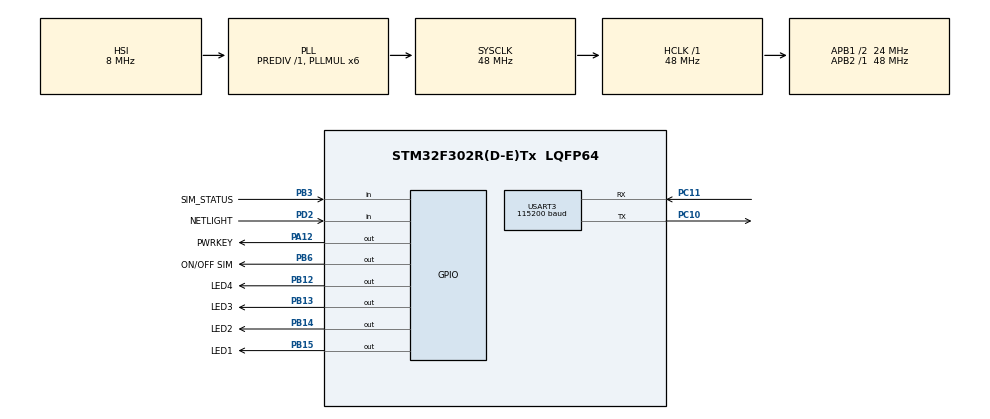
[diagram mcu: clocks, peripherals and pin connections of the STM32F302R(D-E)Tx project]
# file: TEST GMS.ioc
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Mcu.Family=STM32F3
Mcu.Name=STM32F302R(D-E)Tx
Mcu.Package=LQFP64
NVIC.PriorityGroup=NVIC_PRIORITYGROUP_4
PA12.GPIO_Label=PWRKEY
PA12.Signal=GPIO_Output
PA13.Mode=Serial_Wire
PA13.Signal=SYS_JTMS-SWDIO
PA14.Mode=Serial_Wire
PA14.Signal=SYS_JTCK-SWCLK
PB12.GPIO_Label=LED4
PB12.Signal=GPIO_Output
PB13.GPIO_Label=LED3
PB13.Signal=GPIO_Output
PB14.GPIO_Label=LED2
PB14.Signal=GPIO_Output
PB15.GPIO_Label=LED1
PB15.Signal=GPIO_Output
PB3.GPIO_Label=SIM_STATUS
PB3.Signal=GPIO_Input
PB6.GPIO_Label=ON/OFF SIM
PB6.Signal=GPIO_Output
PC10.Mode=Asynchronous
PC10.Signal=USART3_TX
PC11.Mode=Asynchronous
PC11.Signal=USART3_RX
PC14-OSC32_IN.Mode=LSE-External-Oscillator
PC14-OSC32_IN.Signal=RCC_OSC32_IN
PC15-OSC32_OUT.Mode=LSE-External-Oscillator
PC15-OSC32_OUT.Signal=RCC_OSC32_OUT
PD2.GPIO_Label=NETLIGHT
PD2.Signal=GPIO_Input
PF0-OSC_IN.Mode=HSE-External-Oscillator
PF0-OSC_IN.Signal=RCC_OSC_IN
PF1-OSC_OUT.Mode=HSE-External-Oscillator
PF1-OSC_OUT.Signal=RCC_OSC_OUT
ProjectManager.HeapSize=0x200
ProjectManager.StackSize=0x400
ProjectManager.TargetToolchain=MDK-ARM V5
RCC.AHBFreq_Value=48000000
RCC.APB1CLKDivider=RCC_HCLK_DIV2
RCC.APB1Freq_Value=24000000
RCC.APB1TimFreq_Value=48000000
RCC.APB2Freq_Value=48000000
RCC.APB2TimFreq_Value=48000000
RCC.CortexFreq_Value=48000000
RCC.HCLKFreq_Value=48000000
RCC.HSE_VALUE=8000000
RCC.HSI_VALUE=8000000
RCC.PLLMUL=RCC_PLL_MUL6
RCC.SYSCLKFreq_VALUE=48000000
RCC.SYSCLKSourceVirtual=RCC_SYSCLKSOURCE_PLLCLK
RCC.USBFreq_Value=48000000
USART3.BaudRate=115200
USART3.VirtualMode-Asynchronous=VM_ASYNC
board=custom

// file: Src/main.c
/* USER CODE BEGIN Header */
/**
  ******************************************************************************
  * @file           : main.c
  * @brief          : Main program body
  ******************************************************************************
  * @attention
  *
  * <h2><center>&copy; Copyright (c) 2020 STMicroelectronics.
  * All rights reserved.</center></h2>
  *
  * This software component is licensed by ST under BSD 3-Clause license,
  * the "License"; You may not use this file except in compliance with the
  * License. You may obtain a copy of the License at:
  *                        opensource.org/licenses/BSD-3-Clause
  *
  ******************************************************************************
  */
/* USER CODE END Header */

#include "main.h"

/* USER CODE BEGIN Includes */
#include "string.h"
/* USER CODE END Includes */

/* USER CODE BEGIN PTD */
	int counter = 0;
	char data_uart_AT[] = "AT\r";//"ATD0344383980;<CR><LF>";
	char data_uart_ATH[] = "ATH\r";
	char data_uart_SMS_mode_text[] = "AT+CMGF=1\r";
//	char data_uart_SMS_start[] = "AT+CMGS=\"0382643699\"\r";//"AT+CMGS=\"0382643699\"\r\n";
//	char data_uart_SMS_content[] = "New Temple and Page Autumn"; // ?
	char data_uart_SMS_end[1] = {0x1A};
	char check_sms_transmit_line[] = "AT\r";

	char data_uart_receive[30]; // string to save feedback data from SIM800C
	char data_uart_receive2[15]; // string to save feedback data from SIM800C
	char data_uart_receive3[30]; // string to save feedback data from SIM800C
	char data_uart_receive4[15]; // string to save feedback data from SIM800C
	char data_uart_receive5[15]; // string to save feedback data from SIM800C
	int call_enable = 0;
	int call_end = 0;
	int SMS_enable = 0;
	int read_SMS_enable = 1;

	//char str_number[16];

/* USER CODE END PTD */

UART_HandleTypeDef huart3;

void SystemClock_Config(void);
static void MX_GPIO_Init(void);
static void MX_USART3_UART_Init(void);
/* USER CODE BEGIN PFP */
void phone_call(char* phone_number)
{
	char str_number[16];
	if (call_enable == 1)
	{
		sprintf(str_number, "ATD%s;\r", phone_number);
		HAL_UART_Transmit(&huart3, (uint8_t *)str_number, strlen(str_number), 5000);
		//HAL_UART_Receive(&huart3, (uint8_t *)&data_uart_receive, sizeof(data_uart_receive), 3739);
		//call_enable = 0;
	}
	if ( call_end == 1)
	{
		HAL_UART_Transmit(&huart3, (uint8_t *)&data_uart_ATH, sizeof(data_uart_ATH), 3799); // command to end of the call
		HAL_UART_Receive(&huart3, (uint8_t *)&data_uart_receive, sizeof(data_uart_receive), 3739); // data feedback from the SIM800C
		call_end = 0;
	}
}

void send_sms(char* phone_number_2, char* sms_content)
	{
	char data_uart_SMS_start[21]; // = "AT+CMGS=\"0382643699\"\r";//"AT+CMGS=\"0382643699\"\r\n";
	sprintf(data_uart_SMS_start, "AT+CMGS=\"%s\"\r", phone_number_2);

		if ( SMS_enable == 1) // flag cho phep gui tin nhan
		{
			HAL_UART_Transmit(&huart3, (uint8_t*)data_uart_SMS_start, 21, 100);
			HAL_Delay(1000); // wait for > symbol
			HAL_UART_Transmit(&huart3, (uint8_t *)sms_content, strlen(sms_content), 1000);//no dung tin nhan
			HAL_UART_Transmit(&huart3, (uint8_t *)&data_uart_SMS_end[0] , 1, 1000);
			SMS_enable = 0;
		}
	}

/* USER CODE END PFP */

int main(void)
{

  /* MCU Configuration--------------------------------------------------------*/

  /* Reset of all peripherals, Initializes the Flash interface and the Systick. */
  HAL_Init();

  /* Configure the system clock */
  SystemClock_Config();

  /* Initialize all configured peripherals */
  MX_GPIO_Init();
  MX_USART3_UART_Init();
  /* USER CODE BEGIN 2 */
		HAL_GPIO_WritePin(PWRKEY_GPIO_Port, PWRKEY_Pin, GPIO_PIN_RESET);
		HAL_GPIO_WritePin(ON_OFF_SIM_GPIO_Port, ON_OFF_SIM_Pin, GPIO_PIN_SET); // on power sim
		HAL_Delay(1000);  //

		HAL_GPIO_WritePin(PWRKEY_GPIO_Port, PWRKEY_Pin, GPIO_PIN_SET);
		HAL_Delay(1100); // delay at least 1 second  //luc nay do anh chua cho 5-10s khi purkey thoi
		HAL_GPIO_WritePin(PWRKEY_GPIO_Port, PWRKEY_Pin, GPIO_PIN_RESET);
		HAL_Delay(10000);  // wait for about 10senconds for SIM ready
		//HAL_UART_Transmit(&huart3, (uint8_t*)"AT+CMGF=1\r",10, 100); // config tin nhan dang text
		//HAL_Delay(2000);

  /* USER CODE END 2 */

  /* Infinite loop */
  while (1)
  {

    /* USER CODE BEGIN 3 */
//		call_enable = 0;
//		// test module SIM with a phone call
//			phone_call("0344383980"); // if u wanna call to phone number: 0382643699

//		// Cau lenh gui tin nhan
//			send_sms("0344383980", "DEVN, sms from MCU");
//
//		if (read_SMS_enable == 1)
//		{
//			HAL_UART_Transmit(&huart3, (uint8_t*)"AT\r", 3, 10000);
//			HAL_UART_Receive(&huart3, (uint8_t *)data_uart_receive2, sizeof(data_uart_receive2), 3739);
//
//			HAL_UART_Transmit(&huart3, (uint8_t*)"AT+CMGR=1\r",11, 10000);
//			HAL_UART_Receive(&huart3, (uint8_t *)data_uart_receive3, sizeof(data_uart_receive3), 3739);
//			read_SMS_enable = 0;
//		}
//		// check feedback from SIM
//		HAL_UART_Transmit(&huart3, (uint8_t*)"AT\r", 3, 10000);
//		HAL_UART_Receive(&huart3, (uint8_t *)data_uart_receive2, sizeof(data_uart_receive2), 3739);
//
//
//// LED indicatior
//		HAL_GPIO_WritePin(GPIOB, LED4_Pin|LED3_Pin|LED2_Pin, GPIO_PIN_SET); // turn off all the LED indicator
//		HAL_GPIO_TogglePin(LED1_GPIO_Port, LED1_Pin);
//		//HAL_Delay(5000);
////		HAL_GPIO_TogglePin(LED2_GPIO_Port, LED2_Pin);
////		HAL_Delay(37399);
////		HAL_GPIO_TogglePin(LED3_GPIO_Port, LED3_Pin);
////		HAL_Delay(37399);
////		HAL_GPIO_TogglePin(LED4_GPIO_Port, LED4_Pin);
////		HAL_Delay(37399);
//
//		counter ++;
  }
  /* USER CODE END 3 */
}

void SystemClock_Config(void)
{
  RCC_OscInitTypeDef RCC_OscInitStruct = {0};
  RCC_ClkInitTypeDef RCC_ClkInitStruct = {0};
  RCC_PeriphCLKInitTypeDef PeriphClkInit = {0};

  /** Initializes the CPU, AHB and APB busses clocks
  */
  RCC_OscInitStruct.OscillatorType = RCC_OSCILLATORTYPE_HSI;
  RCC_OscInitStruct.HSIState = RCC_HSI_ON;
  RCC_OscInitStruct.HSICalibrationValue = RCC_HSICALIBRATION_DEFAULT;
  RCC_OscInitStruct.PLL.PLLState = RCC_PLL_ON;
  RCC_OscInitStruct.PLL.PLLSource = RCC_PLLSOURCE_HSI;
  RCC_OscInitStruct.PLL.PLLMUL = RCC_PLL_MUL6;
  RCC_OscInitStruct.PLL.PREDIV = RCC_PREDIV_DIV1;
  if (HAL_RCC_OscConfig(&RCC_OscInitStruct) != HAL_OK)
  {
    Error_Handler();
  }
  /** Initializes the CPU, AHB and APB busses clocks
  */
  RCC_ClkInitStruct.ClockType = RCC_CLOCKTYPE_HCLK|RCC_CLOCKTYPE_SYSCLK
                              |RCC_CLOCKTYPE_PCLK1|RCC_CLOCKTYPE_PCLK2;
  RCC_ClkInitStruct.SYSCLKSource = RCC_SYSCLKSOURCE_PLLCLK;
  RCC_ClkInitStruct.AHBCLKDivider = RCC_SYSCLK_DIV1;
  RCC_ClkInitStruct.APB1CLKDivider = RCC_HCLK_DIV2;
  RCC_ClkInitStruct.APB2CLKDivider = RCC_HCLK_DIV1;

  if (HAL_RCC_ClockConfig(&RCC_ClkInitStruct, FLASH_LATENCY_1) != HAL_OK)
  {
    Error_Handler();
  }
  PeriphClkInit.PeriphClockSelection = RCC_PERIPHCLK_USART3;
  PeriphClkInit.Usart3ClockSelection = RCC_USART3CLKSOURCE_PCLK1;
  if (HAL_RCCEx_PeriphCLKConfig(&PeriphClkInit) != HAL_OK)
  {
    Error_Handler();
  }
}

static void MX_USART3_UART_Init(void)
{

  huart3.Instance = USART3;
  huart3.Init.BaudRate = 115200;
  huart3.Init.WordLength = UART_WORDLENGTH_8B;
  huart3.Init.StopBits = UART_STOPBITS_1;
  huart3.Init.Parity = UART_PARITY_NONE;
  huart3.Init.Mode = UART_MODE_TX_RX;
  huart3.Init.HwFlowCtl = UART_HWCONTROL_NONE;
  huart3.Init.OverSampling = UART_OVERSAMPLING_16;
  huart3.Init.OneBitSampling = UART_ONE_BIT_SAMPLE_DISABLE;
  huart3.AdvancedInit.AdvFeatureInit = UART_ADVFEATURE_NO_INIT;
  if (HAL_UART_Init(&huart3) != HAL_OK)
  {
    Error_Handler();
  }

}

static void MX_GPIO_Init(void)
{
  GPIO_InitTypeDef GPIO_InitStruct = {0};

  /* GPIO Ports Clock Enable */
  __HAL_RCC_GPIOC_CLK_ENABLE();
  __HAL_RCC_GPIOF_CLK_ENABLE();
  __HAL_RCC_GPIOB_CLK_ENABLE();
  __HAL_RCC_GPIOA_CLK_ENABLE();
  __HAL_RCC_GPIOD_CLK_ENABLE();

  /*Configure GPIO pin Output Level */
  HAL_GPIO_WritePin(GPIOB, LED4_Pin|LED3_Pin|LED2_Pin|LED1_Pin
                          |ON_OFF_SIM_Pin, GPIO_PIN_RESET);

  /*Configure GPIO pin Output Level */
  HAL_GPIO_WritePin(PWRKEY_GPIO_Port, PWRKEY_Pin, GPIO_PIN_RESET);

  /*Configure GPIO pins : LED4_Pin LED3_Pin LED2_Pin LED1_Pin
                           ON_OFF_SIM_Pin */
  GPIO_InitStruct.Pin = LED4_Pin|LED3_Pin|LED2_Pin|LED1_Pin
                          |ON_OFF_SIM_Pin;
  GPIO_InitStruct.Mode = GPIO_MODE_OUTPUT_PP;
  GPIO_InitStruct.Pull = GPIO_NOPULL;
  GPIO_InitStruct.Speed = GPIO_SPEED_FREQ_LOW;
  HAL_GPIO_Init(GPIOB, &GPIO_InitStruct);

  /*Configure GPIO pin : PWRKEY_Pin */
  GPIO_InitStruct.Pin = PWRKEY_Pin;
  GPIO_InitStruct.Mode = GPIO_MODE_OUTPUT_PP;
  GPIO_InitStruct.Pull = GPIO_NOPULL;
  GPIO_InitStruct.Speed = GPIO_SPEED_FREQ_LOW;
  HAL_GPIO_Init(PWRKEY_GPIO_Port, &GPIO_InitStruct);

  /*Configure GPIO pin : NETLIGHT_Pin */
  GPIO_InitStruct.Pin = NETLIGHT_Pin;
  GPIO_InitStruct.Mode = GPIO_MODE_INPUT;
  GPIO_InitStruct.Pull = GPIO_NOPULL;
  HAL_GPIO_Init(NETLIGHT_GPIO_Port, &GPIO_InitStruct);

  /*Configure GPIO pin : SIM_STATUS_Pin */
  GPIO_InitStruct.Pin = SIM_STATUS_Pin;
  GPIO_InitStruct.Mode = GPIO_MODE_INPUT;
  GPIO_InitStruct.Pull = GPIO_NOPULL;
  HAL_GPIO_Init(SIM_STATUS_GPIO_Port, &GPIO_InitStruct);

}

/* USER CODE BEGIN 4 */
// ham de truyen uart su dung printf

_ARMABI int fputc(int c, FILE * stream)
{
	HAL_UART_Transmit(&huart3, (uint8_t *)&c, 1, 100);

	return 0;
}
/* USER CODE END 4 */

void Error_Handler(void)
{
}

/************************ (C) COPYRIGHT STMicroelectronics *****END OF FILE****/
